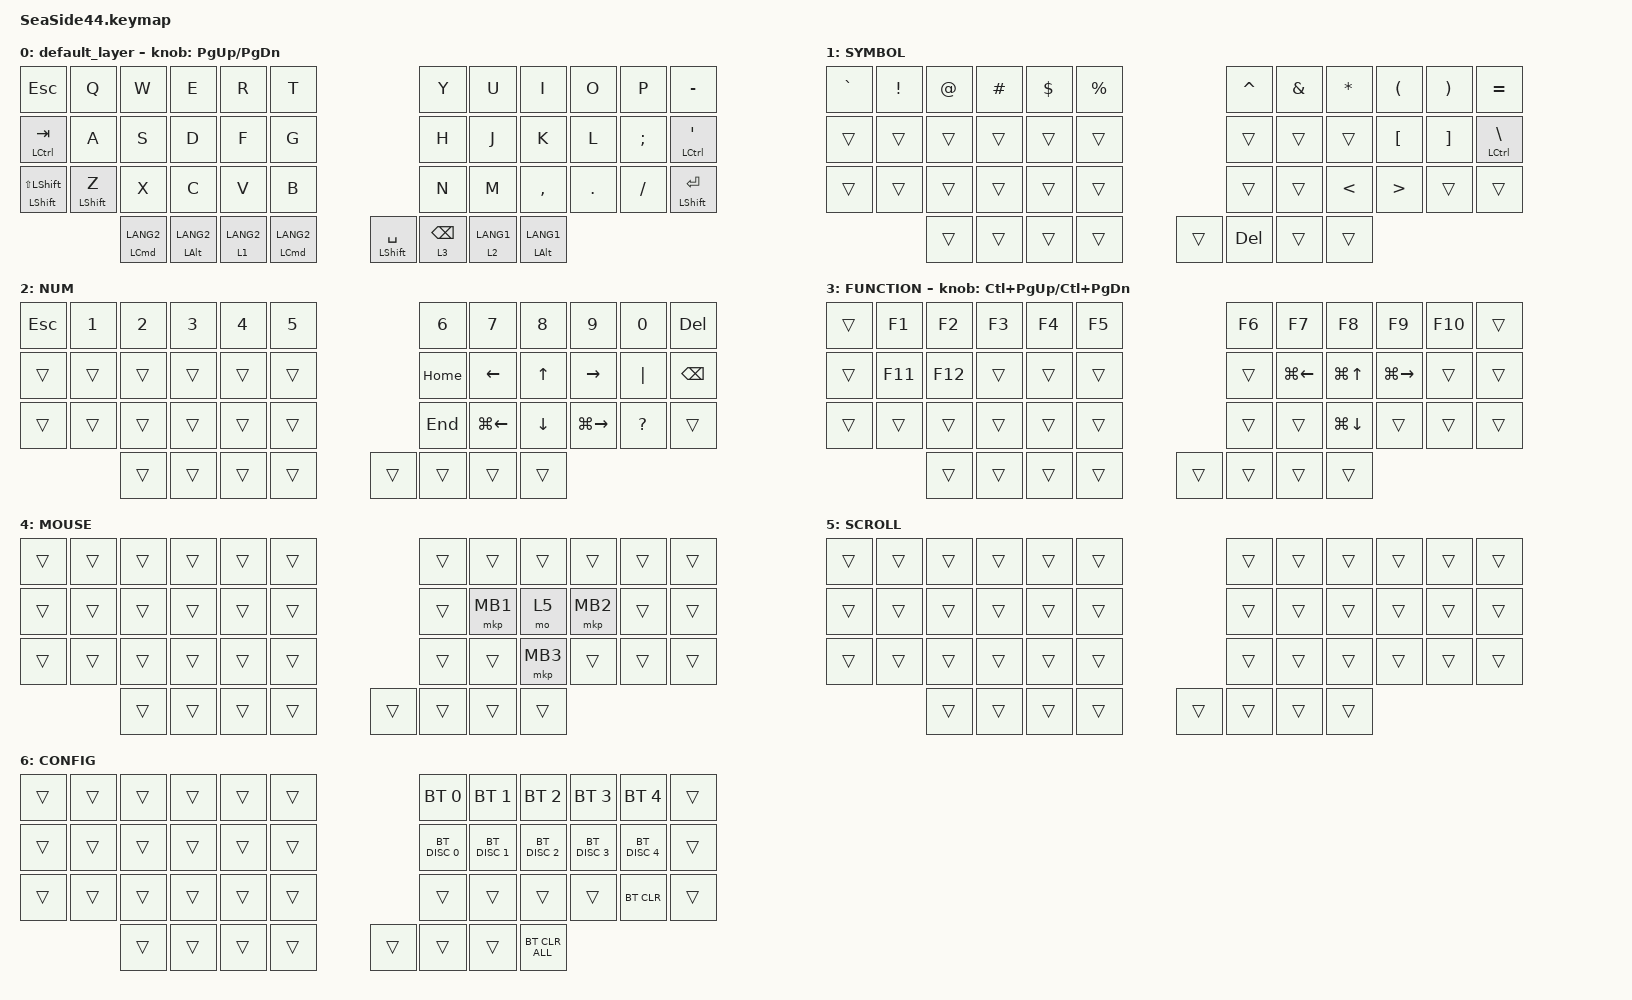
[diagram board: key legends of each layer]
#include <input/processors.dtsi>
#include <behaviors.dtsi>
#include <dt-bindings/zmk/bt.h>
#include <dt-bindings/zmk/keys.h>
#include <dt-bindings/zmk/pointing.h>

#define MOUSE 4
#define SCROLL 5
#define NUM 6

&mkp_input_listener { input-processors = <&zip_temp_layer 4 2000>; };

&mt {
    flavor = "balanced";
    quick-tap-ms = <180>;
};

&lt {
    flavor = "balanced";
    quick-tap-ms = <180>;
};

/ {
    combos {
        compatible = "zmk,combos";

        Config_layer {
            bindings = <&mo 6>;
            key-positions = <38 40>;
        };

        tab {
            bindings = <&kp TAB>;
            key-positions = <15 16>;
        };

        shift_tab {
            bindings = <&kp LS(TAB)>;
            key-positions = <3 4>;
        };

        minus {
            bindings = <&kp MINUS>;
            key-positions = <7 8>;
        };

        eq {
            bindings = <&none>;
            key-positions = <8 9>;
        };

        enter {
            bindings = <&kp ENTER>;
            key-positions = <19 20>;
        };
    };

    macros {
        exit_AML: exit_AML {
            compatible = "zmk,behavior-macro";
            wait-ms = <0>;
            tap-ms = <0>;
            #binding-cells = <0>;
            bindings = <&tog_off 4>;
            label = "exit_AML";
        };

        kp_exit_AML: kp_exit_AML {
            compatible = "zmk,behavior-macro-one-param";
            wait-ms = <0>;
            tap-ms = <0>;
            #binding-cells = <1>;
            bindings = <&macro_param_1to1 &kp MACRO_PLACEHOLDER &exit_AML>;
            label = "KP_exit_AML";
        };

        // keyup時にのみ実行されるマクロの例
    };

    behaviors {
        tog_off: toggle_layer_off {
            compatible = "zmk,behavior-toggle-layer";
            #binding-cells = <1>;
            display-name = "Toggle Layer Off";
            toggle-mode = "off";
        };

        mt_exit_AML_on_tap: mt_exit_AML_on_tap {
            compatible = "zmk,behavior-hold-tap";
            label = "MT_exit_AML_ON_TAP";
            bindings = <&kp>, <&kp_exit_AML>;

            #binding-cells = <2>;
            tapping-term-ms = <200>;
            flavor = "balanced";
            quick-tap-ms = <200>;
        };
    };

    keymap {
        compatible = "zmk,keymap";

        default_layer {
            bindings = <
&kp ESCAPE                                     &kp Q                             &kp W                   &kp E               &kp R        &kp T                                                            &kp Y        &kp U  &kp I               &kp O       &kp P          &kp MINUS
&mt LEFT_CONTROL TAB                           &kp A                             &kp S                   &kp D               &kp F        &kp G                                                            &kp H        &kp J  &kp K               &kp L       &kp SEMICOLON  &mt LEFT_CONTROL SQT
&mt_exit_AML_on_tap LEFT_SHIFT LS(LEFT_SHIFT)  &mt_exit_AML_on_tap LEFT_SHIFT Z  &kp X                   &kp C               &kp V        &kp B                                                            &kp N        &kp M  &kp COMMA           &kp PERIOD  &kp SLASH      &mt LEFT_SHIFT ENTER
                                                                                 &mt LEFT_COMMAND LANG2  &mt LEFT_ALT LANG2  &lt 1 LANG2  &mt LEFT_COMMAND LANG2  &mt LEFT_SHIFT SPACE    &lt 3 BACKSPACE  &lt 2 LANG1         &mt LEFT_ALT LANG1
            >;

            sensor-bindings = <&inc_dec_kp PG_UP PAGE_DOWN>;
        };

        SYMBOL {
            bindings = <
&kp GRAVE  &kp EXCLAMATION  &kp AT_SIGN  &kp HASH  &kp DOLLAR  &kp PERCENT                        &kp CARET  &kp AMPERSAND  &kp ASTERISK   &kp LEFT_PARENTHESIS  &kp RIGHT_PARENTHESIS  &kp EQUAL
&trans     &trans           &trans       &trans    &trans      &trans                             &trans     &trans         &trans         &kp LEFT_BRACKET      &kp RIGHT_BRACKET      &mt LEFT_CONTROL BACKSLASH
&trans     &trans           &trans       &trans    &trans      &trans                             &trans     &trans         &kp LESS_THAN  &kp GREATER_THAN      &trans                 &trans
                            &trans       &trans    &trans      &trans       &trans    &kp DELETE  &trans                    &trans
            >;
        };

        NUM {
            bindings = <
&kp ESCAPE  &kp NUMBER_1  &kp NUMBER_2  &kp NUMBER_3  &kp NUMBER_4  &kp NUMBER_5                    &kp NUMBER_6  &kp NUMBER_7        &kp NUMBER_8    &kp NUMBER_9         &kp NUMBER_0  &kp DELETE
&trans      &trans        &trans        &trans        &trans        &trans                          &kp HOME      &kp LEFT_ARROW      &kp UP_ARROW    &kp RIGHT_ARROW      &kp PIPE      &kp BACKSPACE
&trans      &trans        &trans        &trans        &trans        &trans                          &kp END       &kp LG(LEFT_ARROW)  &kp DOWN_ARROW  &kp LG(RIGHT_ARROW)  &kp QUESTION  &trans
                          &trans        &trans        &trans        &trans        &trans    &trans  &trans                            &trans
            >;
        };

        FUNCTION {
            bindings = <
&trans  &kp F1   &kp F2   &kp F3  &kp F4  &kp F5                    &kp F6  &kp F7              &kp F8              &kp F9               &kp F10  &trans
&trans  &kp F11  &kp F12  &trans  &trans  &trans                    &trans  &kp LG(LEFT_ARROW)  &kp LG(UP_ARROW)    &kp LG(RIGHT_ARROW)  &trans   &trans
&trans  &trans   &trans   &trans  &trans  &trans                    &trans  &trans              &kp LG(DOWN_ARROW)  &trans               &trans   &trans
                 &trans   &trans  &trans  &trans  &trans    &trans  &trans                      &trans
            >;

            sensor-bindings = <&inc_dec_kp LC(PAGE_UP) LC(PAGE_DOWN)>;
        };

        MOUSE {
            bindings = <
&trans  &trans  &trans  &trans  &trans  &trans                    &trans  &trans    &trans    &trans    &trans  &trans
&trans  &trans  &trans  &trans  &trans  &trans                    &trans  &mkp MB1  &mo 5     &mkp MB2  &trans  &trans
&trans  &trans  &trans  &trans  &trans  &trans                    &trans  &trans    &mkp MB3  &trans    &trans  &trans
                &trans  &trans  &trans  &trans  &trans    &trans  &trans            &trans
            >;
        };

        SCROLL {
            bindings = <
&trans  &trans  &trans  &trans  &trans  &trans                    &trans  &trans  &trans  &trans  &trans  &trans
&trans  &trans  &trans  &trans  &trans  &trans                    &trans  &trans  &trans  &trans  &trans  &trans
&trans  &trans  &trans  &trans  &trans  &trans                    &trans  &trans  &trans  &trans  &trans  &trans
                &trans  &trans  &trans  &trans  &trans    &trans  &trans          &trans
            >;
        };

        CONFIG {
            bindings = <
&trans  &trans  &trans  &trans  &trans  &trans                    &bt BT_SEL 0   &bt BT_SEL 1   &bt BT_SEL 2    &bt BT_SEL 3   &bt BT_SEL 4   &trans
&trans  &trans  &trans  &trans  &trans  &trans                    &bt BT_DISC 0  &bt BT_DISC 1  &bt BT_DISC 2   &bt BT_DISC 3  &bt BT_DISC 4  &trans
&trans  &trans  &trans  &trans  &trans  &trans                    &trans         &trans         &trans          &trans         &bt BT_CLR     &trans
                &trans  &trans  &trans  &trans  &trans    &trans  &trans                        &bt BT_CLR_ALL
            >;
        };
    };
};
